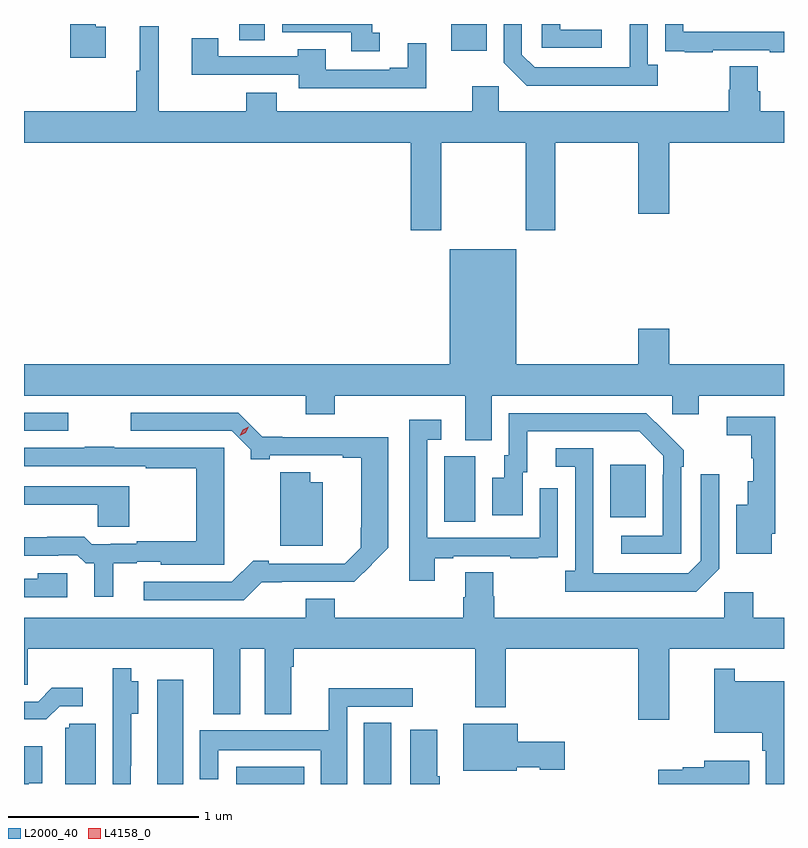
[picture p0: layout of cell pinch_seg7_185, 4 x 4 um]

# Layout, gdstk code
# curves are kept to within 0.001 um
import gdstk
lib = gdstk.Library(unit=1e-6, precision=1e-09)
def R(c, l, rs):  # rectangles x0, y0, x1, y1
    for r in rs: c.add(gdstk.rectangle(r[:2], r[2:], *l))
def P(c, l, *ps):  # polygons
    for p in ps: c.add(gdstk.Polygon(p, *l))
L2000_40 = (2000, 40)
L4158_0 = (4158, 0)

pinch_seg7_185 = lib.new_cell('pinch_seg7_185')
R(pinch_seg7_185, L2000_40, [(1133.504,1003.9,1133.641,1004.449), (1133.922,1003.9,1134.28,1003.99), (1134.593,1003.9,1134.736,1004.222), (1135.016,1005.28,1135.18,1005.624), (1135.889,1005.305,1136.077,1005.58), (1132.804,1005.759,1133.038,1005.855), (1135.052,1007.759,1135.24,1007.9), (1133.936,1007.815,1134.07,1007.9)])
P(pinch_seg7_185, L2000_40, [(1133.233,1007.886),(1133.182,1007.886),(1133.182,1007.9),(1133.048,1007.9),(1133.048,1007.723),(1133.233,1007.723)],
  [(1134.676,1007.855),(1134.637,1007.855),(1134.637,1007.9),(1134.162,1007.9),(1134.162,1007.856),(1134.527,1007.856),(1134.527,1007.757),(1134.676,1007.757)],
  [(1136.429,1007.763),(1136.729,1007.763),(1136.729,1007.751),(1136.804,1007.751),(1136.804,1007.859),(1136.274,1007.859),(1136.274,1007.9),(1136.178,1007.9),(1136.178,1007.866),(1136.179,1007.866),(1136.179,1007.757),(1136.281,1007.757),(1136.281,1007.751),(1136.429,1007.751)],
  [(1136.14,1007.686),(1136.088,1007.686),(1136.088,1007.9),(1135.992,1007.9),(1135.991,1007.673),(1135.491,1007.673),(1135.425,1007.739),(1135.425,1007.9),(1135.329,1007.9),(1135.329,1007.697),(1135.45,1007.576),(1136.14,1007.576)],
  [(1135.846,1007.871),(1135.626,1007.871),(1135.626,1007.9),(1135.53,1007.9),(1135.53,1007.775),(1135.846,1007.775)],
  [(1134.999,1007.276),(1135.444,1007.276),(1135.444,1006.815),(1135.599,1006.815),(1135.599,1007.276),(1136.036,1007.276),(1136.036,1006.902),(1136.2,1006.902),(1136.2,1007.276),(1136.804,1007.276),(1136.804,1007.44),(1136.678,1007.44),(1136.678,1007.546),(1136.665,1007.546),(1136.665,1007.678),(1136.518,1007.678),(1136.518,1007.553),(1136.513,1007.553),(1136.513,1007.44),(1135.302,1007.44),(1135.302,1007.572),(1135.163,1007.572),(1135.163,1007.44),(1134.134,1007.44),(1134.134,1007.539),(1133.974,1007.539),(1133.974,1007.44),(1133.512,1007.44),(1133.512,1007.887),(1133.414,1007.887),(1133.414,1007.655),(1133.395,1007.655),(1133.395,1007.44),(1132.804,1007.44),(1132.804,1007.276),(1134.839,1007.276),(1134.839,1006.815),(1134.999,1006.815)],
  [(1134.922,1007.8),(1134.824,1007.8),(1134.824,1007.671),(1134.728,1007.671),(1134.728,1007.658),(1134.391,1007.658),(1134.391,1007.767),(1134.244,1007.767),(1134.244,1007.73),(1133.827,1007.73),(1133.827,1007.824),(1133.687,1007.824),(1133.687,1007.634),(1134.251,1007.634),(1134.251,1007.562),(1134.922,1007.562)],
  [(1135.267,1005.944),(1136.217,1005.944),(1136.217,1005.846),(1136.356,1005.846),(1136.356,1005.944),(1136.804,1005.944),(1136.804,1006.108),(1136.2,1006.108),(1136.2,1006.297),(1136.036,1006.297),(1136.036,1006.108),(1135.396,1006.108),(1135.396,1006.714),(1135.046,1006.714),(1135.046,1006.108),(1132.804,1006.108),(1132.804,1005.944),(1134.287,1005.944),(1134.287,1005.845),(1134.44,1005.845),(1134.44,1005.944),(1135.127,1005.944),(1135.127,1005.709),(1135.267,1005.709)],
  [(1134.056,1004.963),(1134.543,1004.964),(1134.721,1005.144),(1134.721,1005.726),(1134.163,1005.726),(1134.163,1005.728),(1134.059,1005.728),(1133.931,1005.855),(1133.367,1005.855),(1133.367,1005.759),(1133.898,1005.759),(1133.997,1005.66),(1133.997,1005.61),(1134.097,1005.61),(1134.097,1005.63),(1134.482,1005.63),(1134.482,1005.618),(1134.578,1005.618),(1134.578,1005.25),(1134.576,1005.25),(1134.576,1005.144),(1134.492,1005.06),(1134.091,1005.06),(1134.091,1005.076),(1134.01,1005.076),(1133.898,1004.964),(1133.433,1004.964),(1133.433,1004.868),(1133.961,1004.868)],
  [(1136.262,1005.569),(1136.277,1005.569),(1136.277,1005.657),(1136.08,1005.852),(1135.356,1005.852),(1135.356,1005.63),(1135.331,1005.63),(1135.331,1005.511),(1135.268,1005.511),(1135.268,1005.315),(1135.429,1005.315),(1135.429,1005.54),(1135.453,1005.54),(1135.453,1005.756),(1136.041,1005.756),(1136.169,1005.627),(1136.169,1005.527),(1136.166,1005.527),(1136.166,1005.207),(1135.947,1005.207),(1135.947,1005.111),(1136.262,1005.111)],
  [(1136.74,1005.217),(1136.759,1005.217),(1136.759,1005.834),(1136.502,1005.834),(1136.502,1005.736),(1136.631,1005.736),(1136.631,1005.615),(1136.642,1005.615),(1136.642,1005.493),(1136.612,1005.493),(1136.612,1005.37),(1136.552,1005.37),(1136.552,1005.113),(1136.74,1005.113)],
  [(1134.967,1005.087),(1135.063,1005.087),(1135.063,1005.099),(1135.363,1005.099),(1135.363,1005.087),(1135.511,1005.087),(1135.511,1005.093),(1135.613,1005.093),(1135.613,1005.202),(1135.614,1005.202),(1135.614,1005.457),(1135.518,1005.457),(1135.518,1005.195),(1134.927,1005.195),(1134.927,1005.711),(1135,1005.711),(1135,1005.817),(1134.831,1005.817),(1134.831,1004.97),(1134.967,1004.97)],
  [(1133.275,1005.062),(1133.397,1005.062),(1133.397,1005.069),(1133.523,1005.069),(1133.523,1005.053),(1133.857,1005.053),(1133.857,1005.669),(1133.279,1005.669),(1133.279,1005.674),(1133.125,1005.674),(1133.125,1005.669),(1132.804,1005.669),(1132.804,1005.573),(1133.446,1005.573),(1133.446,1005.561),(1133.71,1005.561),(1133.71,1005.178),(1133.397,1005.178),(1133.397,1005.165),(1133.26,1005.165),(1133.26,1005.162),(1133.16,1005.162),(1133.121,1005.202),(1132.927,1005.202),(1132.927,1005.199),(1132.804,1005.199),(1132.804,1005.102),(1132.985,1005.102),(1132.985,1005.105),(1133.085,1005.105),(1133.129,1005.062),(1133.174,1005.062),(1133.174,1004.886),(1133.275,1004.886)],
  [(1136.463,1005.033),(1136.463,1005.529),(1136.367,1005.529),(1136.367,1005.075),(1136.301,1005.009),(1135.801,1005.009),(1135.8,1005.666),(1135.602,1005.666),(1135.602,1005.57),(1135.704,1005.57),(1135.704,1005.022),(1135.653,1005.022),(1135.653,1004.912),(1136.342,1004.912)],
  [(1134.376,1005.487),(1134.31,1005.487),(1134.31,1005.541),(1134.152,1005.541),(1134.152,1005.155),(1134.376,1005.155)],
  [(1133.358,1005.468),(1132.804,1005.468),(1132.804,1005.371),(1133.192,1005.371),(1133.192,1005.255),(1133.358,1005.255)],
  [(1136.2,1004.612),(1136.804,1004.612),(1136.804,1004.776),(1136.642,1004.776),(1136.642,1004.908),(1136.49,1004.908),(1136.49,1004.776),(1135.28,1004.776),(1135.28,1004.889),(1135.275,1004.889),(1135.275,1005.014),(1135.127,1005.014),(1135.127,1004.882),(1135.115,1004.882),(1135.115,1004.776),(1134.44,1004.776),(1134.44,1004.875),(1134.287,1004.875),(1134.287,1004.776),(1132.804,1004.776),(1132.804,1004.422),(1132.824,1004.422),(1132.824,1004.612),(1133.801,1004.612),(1133.801,1004.267),(1133.941,1004.267),(1133.941,1004.612),(1134.071,1004.612),(1134.071,1004.267),(1134.211,1004.267),(1134.211,1004.516),(1134.224,1004.516),(1134.224,1004.612),(1135.18,1004.612),(1135.18,1004.303),(1135.34,1004.303),(1135.34,1004.612),(1136.036,1004.612),(1136.036,1004.238),(1136.2,1004.238)],
  [(1133.032,1005.01),(1132.876,1005.01),(1132.876,1004.979),(1132.804,1004.979),(1132.804,1004.883),(1133.032,1004.883)],
  [(1133.367,1003.996),(1133.368,1003.996),(1133.368,1004.27),(1133.404,1004.27),(1133.404,1004.44),(1133.368,1004.44),(1133.368,1004.509),(1133.27,1004.509),(1133.27,1004.286),(1133.271,1004.286),(1133.271,1003.9),(1133.367,1003.9)],
  [(1136.804,1004.44),(1136.545,1004.44),(1136.545,1004.506),(1136.436,1004.506),(1136.436,1004.171),(1136.689,1004.171),(1136.689,1004.075),(1136.709,1004.075),(1136.709,1003.9),(1136.804,1003.9)],
  [(1132.992,1004.31),(1133.113,1004.31),(1133.113,1004.407),(1132.951,1004.407),(1132.878,1004.334),(1132.804,1004.334),(1132.804,1004.24),(1132.921,1004.24)],
  [(1134.505,1004.307),(1134.85,1004.307),(1134.85,1004.405),(1134.407,1004.405),(1134.407,1004.182),(1133.73,1004.182),(1133.73,1003.926),(1133.826,1003.926),(1133.826,1004.078),(1134.365,1004.078),(1134.365,1003.9),(1134.505,1003.9)],
  [(1135.398,1003.988),(1135.518,1003.988),(1135.518,1003.976),(1135.651,1003.976),(1135.651,1004.123),(1135.402,1004.123),(1135.402,1004.218),(1135.115,1004.218),(1135.115,1003.97),(1135.398,1003.97)],
  [(1133.182,1004.217),(1133.043,1004.217),(1133.043,1004.196),(1133.021,1004.196),(1133.021,1003.9),(1133.182,1003.9)],
  [(1134.992,1003.942),(1134.979,1003.942),(1134.979,1004.185),(1134.836,1004.185),(1134.836,1003.9),(1134.992,1003.9)],
  [(1132.828,1003.904),(1132.9,1003.904),(1132.9,1004.098),(1132.804,1004.098),(1132.804,1003.9),(1132.828,1003.9)],
  [(1136.62,1004.023),(1136.384,1004.023),(1136.384,1003.988),(1136.271,1003.988),(1136.271,1003.975),(1136.142,1003.975),(1136.142,1003.9),(1136.62,1003.9)])
P(pinch_seg7_185, L4158_0, [(1133.939,1005.734),(1133.939,1005.734),(1133.956,1005.764),(1133.986,1005.781),(1133.987,1005.781),(1133.987,1005.781),(1133.97,1005.75),(1133.939,1005.734)])

lib.write_gds('pinch_seg7_185.gds')
